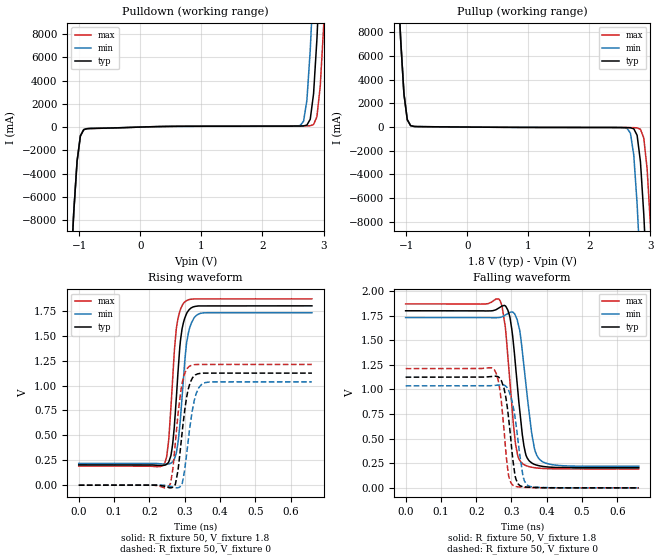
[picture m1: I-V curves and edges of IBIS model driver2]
| IBIS file invchain_skewp_tr10ps.ibs created by PYS2IBIS3
| Missouri S&T EMC Lab
[IBIS Ver] 7.1
[File Name] invchain_skewp_tr10ps.ibs
[File Rev] 1.0
[Date] Jul 27, 2026
[Source] inv_chain variant 'skewp' -- weak PMOS, Wp = Wn
[Notes] Parameter selection; sim_time=6.606e-10, tr=tf=1.000e-11.
[Component] invchain
[Manufacturer] s2ibispy study
[Package]
| variable   typ   min   max
R_pkg 0 NA NA
L_pkg 0H NA NA
C_pkg 0F NA NA
[Pin]  signal_name   model_name   R_pin   L_pin   C_pin
VSSQ   VSSQ   Gnd
VCCQ   VCCQ   Power
| IN IN dummy
PAD   PAD   driver2
| End of Component
| Models and submodels in the file (1): driver2 (Output)
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[Model] driver2
Model_type Output
Polarity Non-Inverting
Enable Active-High
Vinl  = 0.8V
Vinh  = 2V
C_comp 0.4680pF NA NA
[Temperature Range] 27.0000 27.0000 27.0000
[Voltage Range] 1.8000V 1.7000V 1.9000V
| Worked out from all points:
|   slope of the pulldown table from 0 to 0.27 V, typ, clamps not added: 6.79 ohm
|   slope of the pullup table from 0 to 0.27 V, typ, clamps not added: 24.6 ohm
|   rising waveform, R_fixture 50, V_fixture 1.8: 20-80 % time 20.2ps typ, 21.4ps min, 18.7ps max; typ from 0.204 V to 1.8 V
|   rising waveform, R_fixture 50, V_fixture 0: 20-80 % time 22.7ps typ, 23.9ps min, 21.4ps max; typ from 0 V to 1.12 V
|   falling waveform, R_fixture 50, V_fixture 1.8: 20-80 % time 26.2ps typ, 29.5ps min, 23.7ps max; typ from 1.8 V to 0.204 V
|   falling waveform, R_fixture 50, V_fixture 0: 20-80 % time 21.2ps typ, 24.2ps min, 19.4ps max; typ from 1.12 V to 0 V
[Pulldown]
| Voltage   I(typ)   I(min)   I(max)
-1.8V     -87.88A    -87.88A    -87.88A
-1.145V   -13.18A    -13.18A    -13.18A
-1.091V   -7.364A    -7.362A    -7.366A
-981.8mV  -760.7mA   -755.8mA   -765.3mA
-927.3mV  -221.8mA   -216.4mA   -227mA
2.618V    89.37mA    140mA      93.72mA
2.727V    172.9mA    2.318A     99.43mA
2.836V    2.874A     12.68A     215.6mA
2.891V    7.545A     19.33A     885.6mA
2.946V    13.8A      25.98A     3.505A
3V        20.45A     32.63A     8.516A
3.6V      93.6A      105.8A     81.42A
[Pullup]
| Voltage   I(typ)   I(min)   I(max)
-1.8V     93.5A      93.5A      93.5A
-1.145V   13.72A     13.72A     13.72A
-1.091V   7.473A     7.472A     7.473A
-1.036V   2.812A     2.811A     2.812A
-981.8mV  621.2mA    620.4mA    621.9mA
-927.3mV  124.8mA    123.9mA    125.6mA
2.618V    -45.42mA   -113mA     -43.22mA
2.727V    -144.2mA   -2.378A    -50.27mA
2.836V    -2.918A    -12.15A    -185.8mA
2.891V    -7.358A    -18.37A    -914mA
3V        -19.41A    -30.82A    -8.26A
3.6V      -87.89A    -99.3A     -76.48A
[Ramp]
| variable   typ   min   max
dV/dt_r 0.6750/0.02273n 0.6222/0.02386n 0.7272/0.02141n
dV/dt_f 0.9575/0.02618n 0.8972/0.02855n 1.0171/0.02419n
R_load = 50
[Rising Waveform]
R_fixture = 50
V_fixture = 1.8
|time   V(typ)   V(min)   V(max)
0s        204.2mV    219.5mV    192.2mV
243.4ps   200.7mV    211.5mV    221.4mV
254.6ps   229.7mV    213.9mV    443.2mV
261.2ps   297.2mV    220.4mV    774.3mV
276.4ps   871.1mV    321.2mV    1.569V
288.3ps   1.455V     676.5mV    1.766V
303.5ps   1.705V     1.361V     1.849V
318.1ps   1.778V     1.62V      1.867V
345.9ps   1.8V       1.726V     1.87V
660.6ps   1.8V       1.731V     1.87V
[Rising Waveform]
R_fixture = 50
V_fixture = 0
|time   V(typ)   V(min)   V(max)
0s        9.143nV    8.943nV    9.398nV
254.6ps   -23.73mV   -6.698mV   -13.57mV
263.9ps   -24.06mV   -14.99mV   99.96mV
273.8ps   10.14mV    -24.45mV   426.2mV
292.9ps   528.4mV    16.38mV    1.027V
303.5ps   839.8mV    247.6mV    1.149V
313.4ps   1.005V     544mV      1.194V
331.3ps   1.108V     906.2mV    1.211V
353.8ps   1.125V     1.024V     1.212V
660.6ps   1.125V     1.037V     1.212V
[Falling Waveform]
R_fixture = 50
V_fixture = 1.8
|time   V(typ)   V(min)   V(max)
0s        1.8V       1.731V     1.87V
267.2ps   1.836V     1.733V     1.905V
282.4ps   1.85V      1.756V     1.638V
295.6ps   1.734V     1.783V     1.076V
312.1ps   1.215V     1.743V     429mV
323.4ps   782.2mV    1.601V     280mV
332.6ps   486.1mV    1.335V     242.4mV
357.1ps   252.9mV    559.7mV    209.2mV
377.6ps   225.1mV    295.6mV    199.6mV
660.6ps   204.2mV    219.5mV    192.2mV
[Falling Waveform]
R_fixture = 50
V_fixture = 0
|time   V(typ)   V(min)   V(max)
0s        1.125V     1.037V     1.212V
252ps     1.135V     1.041V     1.198V
267.2ps   1.114V     1.046V     994.5mV
282.4ps   950.4mV    1.038V     435.6mV
291.6ps   713.7mV    992.9mV    128.1mV
306.8ps   199.1mV    785mV      20.13mV
318.1ps   43.14mV    492.5mV    9.767mV
332.6ps   11.93mV    116.5mV    5.668mV
348.5ps   6.36mV     18.08mV    2.976mV
660.6ps   -240.7nV   -875.7nV   -9.071nV
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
